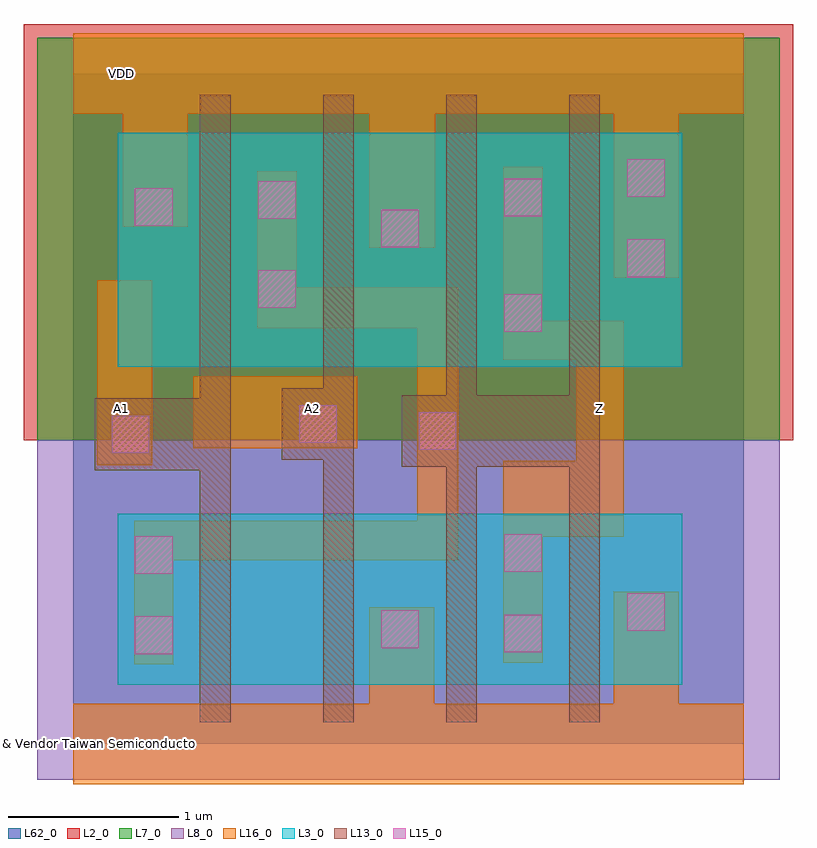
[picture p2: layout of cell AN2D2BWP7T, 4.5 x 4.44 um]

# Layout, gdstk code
import gdstk
lib = gdstk.Library(unit=1e-6, precision=1e-09)
def R(c, l, rs):  # rectangles x0, y0, x1, y1
    for r in rs: c.add(gdstk.rectangle(r[:2], r[2:], *l))
def P(c, l, *ps):  # polygons
    for p in ps: c.add(gdstk.Polygon(p, *l))
L2_0 = (2, 0)
L3_0 = (3, 0)
L7_0 = (7, 0)
L8_0 = (8, 0)
L13_0 = (13, 0)
L15_0 = (15, 0)
L16_0 = (16, 0)
L62_0 = (62, 0)

an2d2bwp7t = lib.new_cell('AN2D2BWP7T')
R(an2d2bwp7t, L2_0, [(-0.29,1.775,4.21,4.21)])
R(an2d2bwp7t, L3_0, [(0.26,0.345,3.56,1.345), (0.26,2.205,3.56,3.575)])
R(an2d2bwp7t, L7_0, [(-0.21,1.775,4.13,4.13)])
R(an2d2bwp7t, L8_0, [(-0.21,-0.21,4.13,1.775)])
P(an2d2bwp7t, L13_0, [(2.18,0.125),(2.18,1.62),(1.92,1.62),(1.92,2.04),(2.18,2.04),(2.18,3.795),(2.36,3.795),(2.36,2.04),(2.9,2.04),(2.9,3.795),(3.08,3.795),(3.08,0.125),(2.9,0.125),(2.9,1.62),(2.36,1.62),(2.36,0.125)],
  [(1.46,0.125),(1.46,1.66),(1.22,1.66),(1.22,2.08),(1.46,2.08),(1.46,3.795),(1.64,3.795),(1.64,0.125)],
  [(0.74,0.125),(0.74,1.6),(0.125,1.6),(0.125,2.02),(0.74,2.02),(0.74,3.795),(0.92,3.795),(0.92,0.125)])
R(an2d2bwp7t, L15_0, [(0.36,0.525,0.58,0.745), (2.52,0.535,2.74,0.755), (1.8,0.56,2.02,0.78), (3.24,0.66,3.46,0.88), (0.36,0.995,0.58,1.215), (2.52,1.005,2.74,1.225), (0.225,1.7,0.445,1.92), (2.02,1.72,2.24,1.94), (1.32,1.76,1.54,1.98), (2.52,2.41,2.74,2.63), (1.08,2.55,1.3,2.77), (3.24,2.73,3.46,2.95), (1.8,2.905,2.02,3.125), (0.36,3.03,0.58,3.25), (1.08,3.07,1.3,3.29), (2.52,3.085,2.74,3.305), (3.24,3.2,3.46,3.42)])
R(an2d2bwp7t, L16_0, [(0.14,1.63,0.46,2.71), (0.7,1.73,1.66,2.15)])
P(an2d2bwp7t, L16_0, [(0,-0.235),(0,0.235),(1.73,0.235),(1.73,0.8),(2.11,0.8),(2.11,0.235),(3.16,0.235),(3.16,0.89),(3.54,0.89),(3.54,0.235),(3.92,0.235),(3.92,-0.235)],
  [(3.16,2.725),(3.16,3.685),(2.115,3.685),(2.115,2.9),(1.73,2.9),(1.73,3.685),(0.67,3.685),(0.67,3.025),(0.29,3.025),(0.29,3.685),(0,3.685),(0,4.155),(3.92,4.155),(3.92,3.685),(3.54,3.685),(3.54,2.725)],
  [(2.515,0.475),(2.515,1.655),(2.94,1.655),(2.94,2.245),(2.515,2.245),(2.515,3.375),(2.745,3.375),(2.745,2.475),(3.22,2.475),(3.22,1.21),(2.745,1.21),(2.745,0.475)],
  [(0.355,0.465),(0.355,1.305),(2.01,1.305),(2.01,2.43),(1.075,2.43),(1.075,3.35),(1.305,3.35),(1.305,2.67),(2.25,2.67),(2.25,1.075),(0.585,1.075),(0.585,0.465)])
R(an2d2bwp7t, L62_0, [(0,0,3.92,3.92)])
an2d2bwp7t.add(gdstk.Label('& Vendor Taiwan Semiconductor Manufacturing Corp.', (0,0), layer=63, texttype=63))
an2d2bwp7t.add(gdstk.Label('& Product tcb018gbwp7t', (0,0), layer=63, texttype=63))
an2d2bwp7t.add(gdstk.Label('& Version 270a', (0,0), layer=63, texttype=63))
an2d2bwp7t.add(gdstk.Label('& Metric 15.366', (0,0), layer=63, texttype=63))
an2d2bwp7t.add(gdstk.Label('& Distributor TSMC', (0,0), layer=63, texttype=63))
an2d2bwp7t.add(gdstk.Label('& SerialNumber 000000', (0,0), layer=63, texttype=63))
an2d2bwp7t.add(gdstk.Label('& _Instance_tag AN2D2BWP7T', (0,0), layer=63, texttype=63))
an2d2bwp7t.add(gdstk.Label('& Vendor Taiwan Semiconductor Manufacturing Corp.', (0,0), layer=11, texttype=0))
an2d2bwp7t.add(gdstk.Label('& Product tcb018gbwp7t', (0,0), layer=11, texttype=0))
an2d2bwp7t.add(gdstk.Label('& Version 270a', (0,0), layer=11, texttype=0))
an2d2bwp7t.add(gdstk.Label('& Metric 15.366', (0,0), layer=11, texttype=0))
an2d2bwp7t.add(gdstk.Label('& Distributor TSMC', (0,0), layer=11, texttype=0))
an2d2bwp7t.add(gdstk.Label('& SerialNumber 000000', (0,0), layer=11, texttype=0))
an2d2bwp7t.add(gdstk.Label('& _Instance_tag AN2D2BWP7T', (0,0), layer=11, texttype=0))
an2d2bwp7t.add(gdstk.Label('AN2D2BWP7T', (0,0), layer=59, texttype=0))
an2d2bwp7t.add(gdstk.Label('VSS', (0.28,0), layer=40, texttype=0))
an2d2bwp7t.add(gdstk.Label('VDD', (0.28,3.92), layer=40, texttype=0))
an2d2bwp7t.add(gdstk.Label('Z', (3.08,1.96), layer=40, texttype=0))
an2d2bwp7t.add(gdstk.Label('A1', (0.28,1.96), layer=40, texttype=0))
an2d2bwp7t.add(gdstk.Label('A2', (1.4,1.96), layer=40, texttype=0))

lib.write_gds('AN2D2BWP7T.gds')
